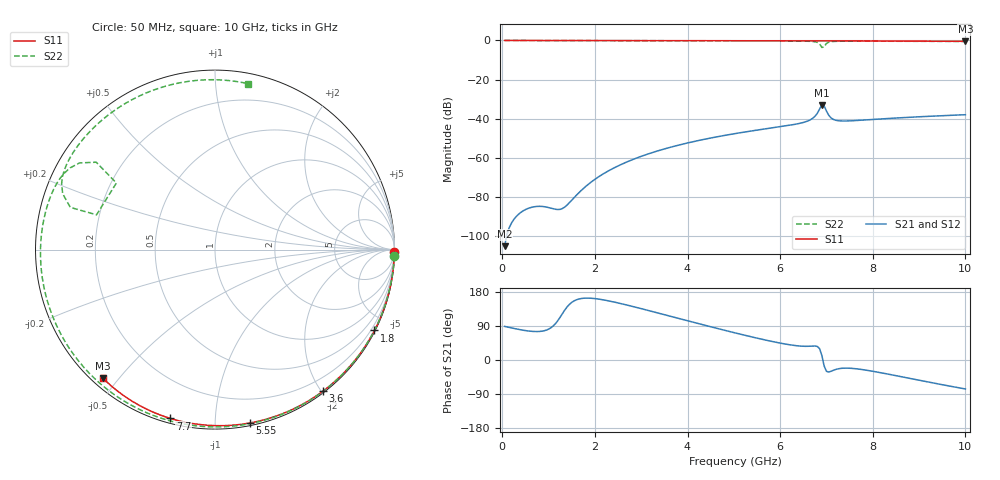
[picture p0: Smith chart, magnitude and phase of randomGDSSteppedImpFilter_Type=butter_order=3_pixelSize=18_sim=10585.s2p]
! freq	dB(S11)	phase(S11)	dB(S12)	phase(S12)
!  dB(S21)	phase(S21)	dB(S22)	phase(S22)
!S-par simulation data
#  GHz  S  DB  R 50
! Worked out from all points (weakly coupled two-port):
!   200 points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, 50 MHz to 10 GHz, reference 50 ohm
!   highest |S21| = -32.92 dB at 6.9 GHz (marker M1); lowest = -105.0 dB at 50 MHz (marker M2)
!   lowest |S11| = -0.4 dB at 10 GHz (marker M3), VSWR 39.29, Z = 1.53 - j22.7 ohm
!   |S11| at or under -10 dB: nowhere
!   |S22| runs from -3.6 to 0.0 dB; largest |S21 - S12| = 0
!   S11 on the Smith chart (normalised r, x): 50 MHz: open; 1.8 GHz: 0.04, -4.18; 3.6 GHz: 0.02, -2.02; 5.55 GHz: 0.02, -1.22; 7.7 GHz: 0.02, -0.77; 10 GHz: 0.03, -0.45
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0.05  -0.00 -0.8  -105.01 88.6  -105.01 88.6  -0.00 -2.1
0.75  -0.01 -11.3  -84.72 75.1  -84.72 75.1  -0.04 -30.4
1.55  -0.03 -23.2  -80.27 156.0  -80.27 156.0  -0.07 -61.0
1.75  -0.03 -26.1  -75.58 162.9  -75.58 162.9  -0.08 -68.2
1.8  -0.03 -26.9  -74.54 163.3  -74.54 163.3  -0.08 -70.0
2.45  -0.05 -36.3  -64.62 152.0  -64.62 152.0  -0.11 -91.9
3.4  -0.07 -49.8  -56.06 122.8  -56.06 122.8  -0.14 -120.5
3.6  -0.07 -52.6  -54.71 116.4  -54.71 116.4  -0.14 -126.1
5.05  -0.11 -72.1  -47.45 70.8  -47.45 70.8  -0.20 -163.4
5.55  -0.13 -78.5  -45.59 56.3  -45.59 56.3  -0.23 -175.5
6.4  -0.16 -89.2  -42.43 37.1  -42.43 37.1  -0.32 163.2
6.7  -0.18 -92.9  -39.79 36.8  -39.79 36.8  -0.52 153.1
6.85  -0.19 -94.7  -35.15 30.2  -35.15 30.2  -1.71 143.7
6.9  -0.19 -95.3  -32.92 12.3  -32.92 12.3  -3.57 146.0
6.95  -0.19 -95.9  -33.37 -15.9  -33.37 -15.9  -3.25 163.6
7  -0.19 -96.5  -36.05 -29.9  -36.05 -29.9  -1.52 163.7
7.05  -0.20 -97.1  -38.21 -31.7  -38.21 -31.7  -0.88 159.9
7.25  -0.21 -99.5  -40.96 -23.4  -40.96 -23.4  -0.42 150.3
7.7  -0.24 -104.9  -40.79 -24.0  -40.79 -24.0  -0.37 137.4
8.35  -0.29 -112.4  -39.80 -37.7  -39.80 -37.7  -0.40 121.1
9.2  -0.36 -122.2  -38.73 -58.1  -38.73 -58.1  -0.45 99.7
10  -0.44 -131.2  -37.90 -76.4  -37.90 -76.4  -0.51 78.9
